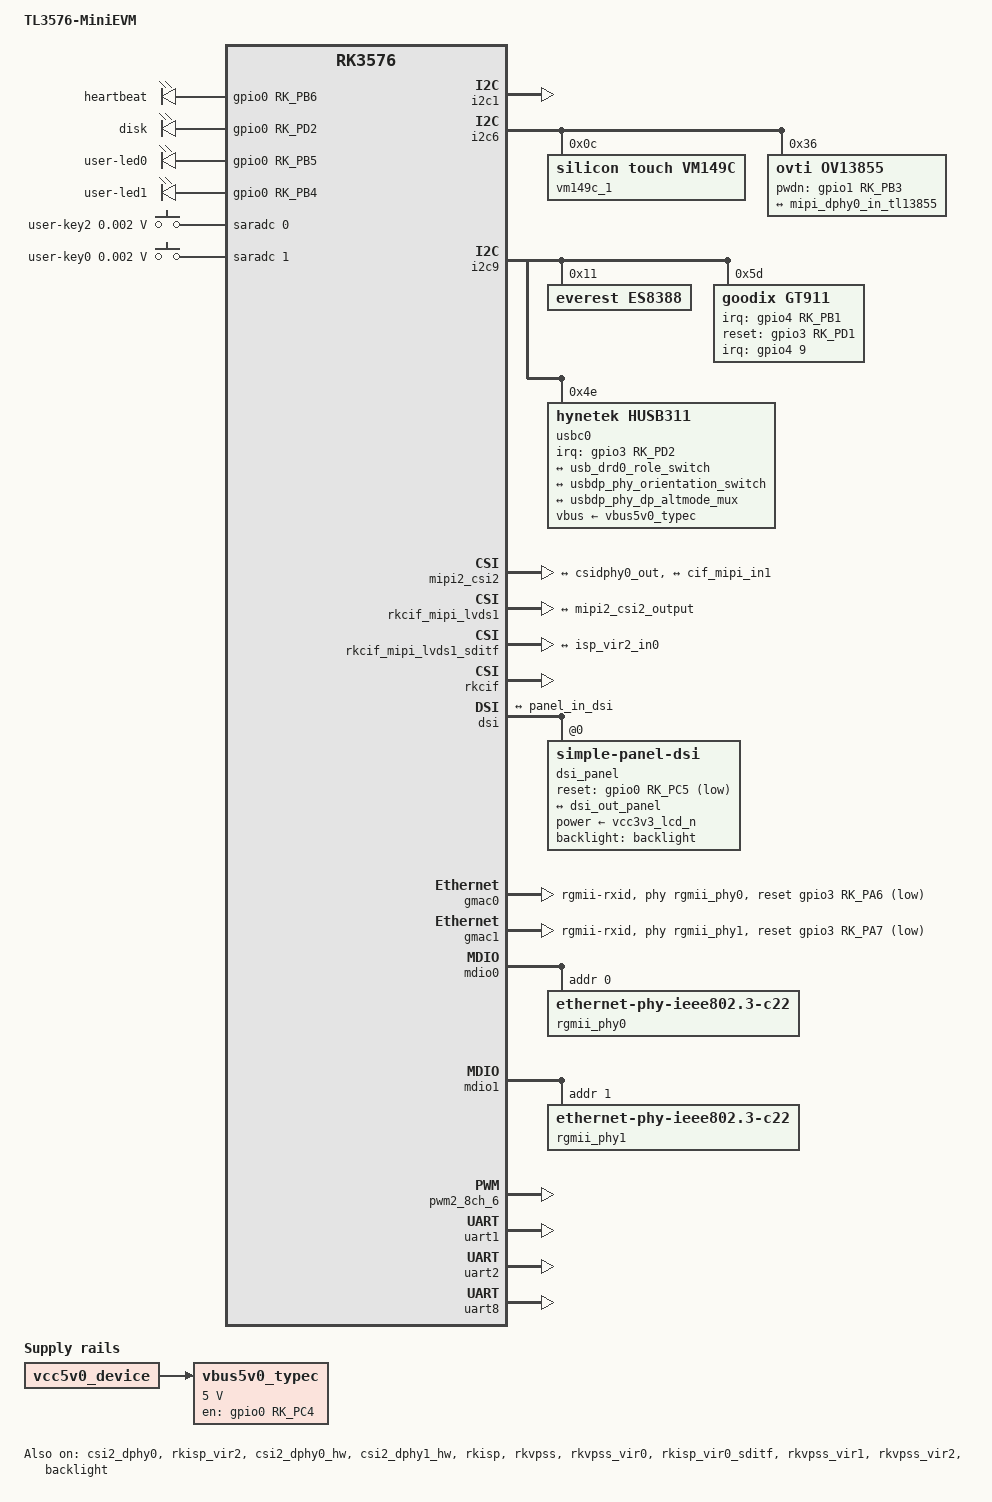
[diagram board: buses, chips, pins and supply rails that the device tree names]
// SPDX-License-Identifier: (GPL-2.0+ OR MIT)
/*
 * Copyright (c) 2024 Rockchip Electronics Co., Ltd.
 *
 */

/dts-v1/;

#include "rk3576.dtsi"
#include "rk3576-evb1.dtsi"
#include "rk3576-linux.dtsi"

/ {
	model = "TL3576-MiniEVM";
	compatible = "tronlong,tl3576-minievm", "rockchip,rk3576";

	vbus5v0_typec: vbus5v0-typec {
		compatible = "regulator-fixed";
		regulator-name = "vbus5v0_typec";
		regulator-min-microvolt = <5000000>;
		regulator-max-microvolt = <5000000>;
		enable-active-high;
		gpio = <&gpio0 RK_PC4 GPIO_ACTIVE_HIGH>;
		vin-supply = <&vcc5v0_device>;
	};

	wireless_bluetooth: wireless-bluetooth {
		compatible = "bluetooth-platdata";
		status = "disabled";
	};
	sdio_pwrseq: sdio-pwrseq {
		compatible = "mmc-pwrseq-simple";

		/*
		 * On the module itself this is one of these (depending
		 * on the actual card populated):
		 * - SDIO_RESET_L_WL_REG_ON
		 * - PDN (power down when low)
		 */
		post-power-on-delay-ms = <200>;
		status = "okay";
	};

	leds {
		status = "okay";
		compatible = "gpio-leds";
		pinctrl-names = "default";
		pinctrl-0 = <&som_led0 &som_led1 &user_led0 &user_led1>;

		som_led0 {
			label = "heartbeat";
			gpios = <&gpio0 RK_PB6 GPIO_ACTIVE_HIGH>;
			linux,default-trigger = "heartbeat";
			default-state = "off";
		};

		som_led1 {
			label = "disk";
			gpios = <&gpio0 RK_PD2 GPIO_ACTIVE_HIGH>;
			linux,default-trigger = "mmc0";
			default-state = "off";
		};

		user_led0 {
			label = "user-led0";
			gpios = <&gpio0 RK_PB5 GPIO_ACTIVE_HIGH>;
			linux,default-trigger = "default-on";
			default-state = "off";
		};

		user_led1 {
			label = "user-led1";
			gpios = <&gpio0 RK_PB4 GPIO_ACTIVE_HIGH>;
			linux,default-trigger = "default-on";
			default-state = "off";
		};
	};

	/delete-node/ adc-keys;

        adc-keys1 {
            compatible = "adc-keys";
            io-channels = <&saradc 0>;
            io-channel-names = "buttons";
            keyup-threshold-microvolt = <1800000>;
            poll-interval = <100>;

                user_key2 {
                    label = "user-key2";
                    linux,code = <KEY_PROG3>;
                    press-threshold-microvolt = <1750>;
                };
        };

        adc-keys2 {
            compatible = "adc-keys";
            io-channels = <&saradc 1>;
            io-channel-names = "buttons";
            keyup-threshold-microvolt = <1800000>;
            poll-interval = <100>;

                user_key0 {
                    label = "user-key0";
                    linux,code = <KEY_PROG1>;
                    press-threshold-microvolt = <1750>;
                };
        };

	export-gpio {
		status = "okay";
		pinctrl-names = "default";
		pinctrl-0 = <&gpio_pins_group1 &gpio_pins_group2>;
	};
};

&fiq_debugger {
	rockchip,baudrate = <115200>;
};

&cluster0_opp_table{
        /* RK3576 A53 core limit at 1.4GHz */
        /delete-node/ opp-1608000000;
        /delete-node/ opp-1800000000;
        /delete-node/ opp-2016000000;

        /* RK3576J A53 core limit at 1.4GHz */
        /delete-node/ opp-j-m-1608000000;
        /delete-node/ opp-j-m-1800000000;
        /delete-node/ opp-j-m-1920000000;
};

&cluster1_opp_table{
        /* RK3576 A72 core limit at 1.6GHz */
        /delete-node/ opp-1800000000;
        /delete-node/ opp-2016000000;
        /delete-node/ opp-2208000000;

        /* RK3576J A72 core limit at 1.6GHz */
        /delete-node/ opp-j-m-1800000000;
        /delete-node/ opp-j-m-2016000000;
        /delete-node/ opp-j-m-2112000000;
};

&gpu_opp_table {
	/* RK3576 GPU limit at 700MHz */
	/delete-node/ opp-s-800000000;
	/delete-node/ opp-800000000;
	/delete-node/ opp-900000000;

	/* RK3576J GPU limit at 700MHz */
	/delete-node/ opp-j-m-800000000;
};

&npu_opp_table {
	/* RK3576 NPU limit at 700MHz */
	/delete-node/ opp-800000000;
	/delete-node/ opp-900000000;
	/delete-node/ opp-950000000;

	/* RK3576J NPU limit at 700MHz */
	/delete-node/ opp-j-m-800000000;
	/delete-node/ opp-j-m-850000000;
};

&dmc {
	system-status-level = <
		/* system status        freq level */
		SYS_STATUS_NORMAL       DMC_FREQ_LEVEL_HIGH
	>;
	auto-freq-en = <0>;
	status = "disabled";
};

&i2c1 {
	status = "okay";
};

&i2c4 {
	status = "disabled";
};

&i2c6 {
	status = "okay";
	pinctrl-names = "default";
	pinctrl-0 = <&i2c6m0_xfer>;

	vm149c_1: vm149c@c {
                compatible = "silicon touch,vm149c";
                status = "okay";
                reg = <0x0c>;
                rockchip,camera-module-index = <0>;
                rockchip,camera-module-facing = "back";
        };

        ov13855: ov13855@36 {
                compatible = "ovti,ov13855";
                status = "okay";
                reg = <0x36>;
                clocks = <&cru CLK_MIPI_CAMERAOUT_M1>;
                clock-names = "xvclk";
		pwdn-gpios = <&gpio1 RK_PB3 GPIO_ACTIVE_HIGH>;
                power-domains = <&power RK3576_PD_VI>;
                rockchip,camera-module-index = <1>;
                rockchip,camera-module-facing = "back";
                rockchip,camera-module-name = "RK-CMK-8M-2-v1";
                rockchip,camera-module-lens-name = "CK8401";
                lens-focus = <&vm149c_1>;

                port {
                        camera1_out: endpoint {
				remote-endpoint = <&mipi_dphy0_in_tl13855>;
				data-lanes = <1 2 3 4>;
			};
                };
        };
};

&i2c9 {
	status = "okay";
	pinctrl-names = "default";
	pinctrl-0 = <&i2c9m3_xfer>;

	es8388: es8388@11 {
		status = "okay";
		#sound-dai-cells = <0>;
		compatible = "everest,es8388", "everest,es8323";
		reg = <0x11>;
		clocks = <&mclkout_sai1>;
		clock-names = "mclk";
		assigned-clocks = <&mclkout_sai1>;
		assigned-clock-rates = <12288000>;
		pinctrl-names = "default";
		pinctrl-0 = <&sai1m0_mclk>;
	};

	gt911@5d {
		compatible = "goodix,gt911";
		reg = <0x5d>;
		interrupt-parent = <&gpio4>;
		interrupts = <9 0>;
		irq-gpios = <&gpio4 RK_PB1 0>;
		reset-gpios = <&gpio3 RK_PD1 GPIO_ACTIVE_HIGH>;
		pinctrl-names = "default";
		pinctrl-0 = <&gt911_int>;
		status = "okay";
	};

	usbc0: husb311@4e {
		compatible = "hynetek,husb311";
		reg = <0x4e>;
		interrupt-parent = <&gpio3>;
		interrupts = <RK_PD2 IRQ_TYPE_LEVEL_LOW>;
		pinctrl-names = "default";
		pinctrl-0 = <&usbc0_int>;
		vbus-supply = <&vbus5v0_typec>;
		status = "okay";

		port {
			usbc0_role_sw: endpoint {
				remote-endpoint = <&usb_drd0_role_switch>;
			};
		};

		usb_con: connector {
			compatible = "usb-c-connector";
			label = "USB-C";
			data-role = "dual";
			power-role = "dual";
			try-power-role = "sink";
			op-sink-microwatt = <1000000>;
			sink-pdos =
				<PDO_FIXED(5000, 1000, PDO_FIXED_USB_COMM)>;
			source-pdos =
				<PDO_FIXED(5000, 3000, PDO_FIXED_USB_COMM)>;
			mode-switch = <&dp>;

			altmodes {
				#address-cells = <1>;
				#size-cells = <0>;

				altmode@0 {
					reg = <0>;
					svid = <0xff01>;
					vdo = <0xffffffff>;
				};
			};

			ports {
				#address-cells = <1>;
				#size-cells = <0>;

				port@0 {
					reg = <0>;
					usbc0_orien_sw: endpoint {
						remote-endpoint = <&usbdp_phy_orientation_switch>;
					};
				};

				port@1 {
					reg = <1>;
					dp_altmode_mux: endpoint {
						remote-endpoint = <&usbdp_phy_dp_altmode_mux>;
					};
				};
			};
		};
	};
};

&csi2_dphy0 {
	status = "okay";

	ports {
                #address-cells = <1>;
                #size-cells = <0>;
                port@0 {
                        reg = <0>;
			#address-cells = <1>;
                        #size-cells = <0>;

                        mipi_dphy0_in_tl13855: endpoint@1 {
                                reg = <1>;
                                remote-endpoint = <&camera1_out>;
                                data-lanes = <1 2 3 4>;
                        };
                };
                port@1 {
                        reg = <1>;
                        #address-cells = <1>;
                        #size-cells = <0>;

                        csidphy0_out: endpoint@0 {
                                reg = <0>;
                                remote-endpoint = <&mipi2_csi2_input>;
                        };
                };
        };
};

&mipi2_csi2 {
        status = "okay";

        ports {
                #address-cells = <1>;
                #size-cells = <0>;

                port@0 {
                        reg = <0>;
                        #address-cells = <1>;
                        #size-cells = <0>;

                        mipi2_csi2_input: endpoint@1 {
                                reg = <1>;
                                remote-endpoint = <&csidphy0_out>;
                        };
                };

                port@1 {
                        reg = <1>;
                        #address-cells = <1>;
                        #size-cells = <0>;

                        mipi2_csi2_output: endpoint@0 {
                                reg = <0>;
                                remote-endpoint = <&cif_mipi_in1>;
                        };
                };
        };
};

&rkcif_mipi_lvds1 {
        status = "okay";

        port {
                cif_mipi_in1: endpoint {
                        remote-endpoint = <&mipi2_csi2_output>;
                };
        };
};

&rkcif_mipi_lvds1_sditf {
	status = "okay";

	port {
                mipi_lvds1_sditf: endpoint {
                        remote-endpoint = <&isp_vir2_in0>;
                };
        };
};

&rkisp_vir2 {
        status = "okay";

        port {
                #address-cells = <1>;
                #size-cells = <0>;

                isp_vir2_in0: endpoint@0 {
                        reg = <0>;
                        remote-endpoint = <&mipi_lvds1_sditf>;
                };
        };
};

&rkcif {
        status = "okay";
};

&csi2_dphy0_hw {
        status = "okay";
};

&csi2_dphy1_hw {
        status = "okay";
};

&rkcif_mmu {
        status = "okay";
};

&rkisp {
        status = "okay";
};

&rkisp_mmu {
        status = "okay";
};

&rkvpss {
        status = "okay";
};

&rkvpss_mmu {
        status = "okay";
};

&rkvpss_vir0 {
        status = "okay";
};

&rkisp_vir0_sditf {
	status = "okay";
};

&rkvpss_vir1 {
        status = "okay";
};

&rkvpss_vir2 {
        status = "okay";
};

&dsi {
	status = "okay";

	dsi_panel: panel@0 {
		status = "okay";
		compatible = "simple-panel-dsi";
		reg = <0>;
		backlight = <&backlight>;
		reset-gpios = <&gpio0 RK_PC5 GPIO_ACTIVE_LOW>;
		reset-delay-ms = <200>;
		enable-delay-ms = <200>;
		prepare-delay-ms = <200>;
		unprepare-delay-ms = <200>;
		disable-delay-ms = <200>;
		width-mm = <94>;
		height-mm = <150>;
		dsi,flags = <(MIPI_DSI_MODE_VIDEO | MIPI_DSI_MODE_VIDEO_BURST |
			      MIPI_DSI_MODE_LPM | MIPI_DSI_MODE_NO_EOT_PACKET)>;
		dsi,format = <MIPI_DSI_FMT_RGB888>;
		dsi,lanes  = <4>;
		panel-init-sequence = [
			05 1E 01 01
			23 00 02 EE 50
			29 00 03 EA 85 55
			23 00 02 30 00
			23 00 02 31 00
			29 00 03 90 50 15
			23 00 02 24 20
			23 00 02 99 00
			23 00 02 79 00
			23 00 02 95 74
			23 00 02 7A 20
			23 00 02 97 09
			23 00 02 7D 08
			23 00 02 56 83
			23 00 02 EE 60
			23 00 02 30 01
			23 00 02 27 22
			23 00 02 3A A4
			23 00 02 3B 00
			23 00 02 3C 1A
			23 00 02 3D 11
			23 00 02 3E 93
			23 00 02 42 64
			23 00 02 43 64
			23 00 02 44 0B
			23 00 02 46 4E
			23 00 02 8B 90
			23 00 02 8D 45
			23 00 02 91 11
			23 00 02 92 11
			23 00 02 93 9F
			23 00 02 9A 00
			23 00 02 9C 80
			29 00 06 47 0F 24 2C 39 36
			29 00 06 5A 0F 24 2C 39 36
			29 00 06 4C 4A 40 51 31 2F
			29 00 06 51 2D 10 25 1F 30
			29 00 05 56 37 46 5B 7F
			29 00 05 69 37 46 5B 7F
			23 00 02 EE 70
			29 00 05 00 03 07 00 01
			29 00 05 04 08 0C 55 01
			29 00 03 0C 05 3D
			29 00 06 10 05 08 00 01 05
			29 00 06 15 00 15 0D 08 00
			29 00 03 29 05 3D
			29 00 06 60 3C 3C 07 05 17
			29 00 06 65 15 13 11 01 03
			29 00 06 6A 3C 3C 3C 3C 3C
			29 00 06 6F 3C 3C 3C 3C 3C
			29 00 03 74 3C 3C
			29 00 06 80 3C 3C 06 04 16
			29 00 06 85 14 12 10 00 02
			29 00 06 8A 3C 3C 3C 3C 3C
			29 00 06 8F 3C 3C 3C 3C 3C
			29 00 03 94 3C 3C
			29 00 03 EA 00 00
			23 00 02 EE 00
			05 78 01 11
			05 1E 01 29
		];

		panel-exit-sequence = [
			05 00 01 28
			05 00 01 10
		];

		disp_timings0: display-timings {
			native-mode = <&dsi_timing0>;
			dsi_timing0: timing0 {
				clock-frequency = <67200000>;
                hactive = <800>;
                vactive = <1280>;
                hfront-porch = <80>;
                hsync-len = <20>;
                hback-porch = <20>;
                vfront-porch = <15>;
                vsync-len = <6>;
                vback-porch = <8>;
                hsync-active = <0>;
                vsync-active = <0>;
                de-active = <0>;
                pixelclk-active = <1>;
			};
		};

		ports {
			#address-cells = <1>;
			#size-cells = <0>;

			port@0 {
				reg = <0>;
				panel_in_dsi: endpoint {
					remote-endpoint = <&dsi_out_panel>;
				};
			};
		};
	};

	ports {
		#address-cells = <1>;
		#size-cells = <0>;

		port@1 {
			reg = <1>;
			dsi_out_panel: endpoint {
				remote-endpoint = <&panel_in_dsi>;
			};
		};
	};

};

&dsi_panel {
	power-supply = <&vcc3v3_lcd_n>;
};

&gmac0 {
	/* Use rgmii-rxid mode to disable rx delay inside Soc */
	phy-mode = "rgmii-rxid";
	clock_in_out = "output";

	snps,reset-gpio = <&gpio3 RK_PA6 GPIO_ACTIVE_LOW>;
	snps,reset-active-low;
	/* Reset time is 20ms, 100ms for rtl8211f */
	snps,reset-delays-us = <0 20000 100000>;

	pinctrl-names = "default";
	pinctrl-0 = <&eth0m1_miim
		     &eth0m1_tx_bus2
		     &eth0m1_rx_bus2
		     &eth0m1_rgmii_clk
		     &eth0m1_rgmii_bus>;

	tx_delay = <0x21>;
	/* rx_delay = <0x3f>; */

	phy-handle = <&rgmii_phy0>;
	status = "okay";
};

&gmac1 {
	/* Use rgmii-rxid mode to disable rx delay inside Soc */
	phy-mode = "rgmii-rxid";
	clock_in_out = "output";

	snps,reset-gpio = <&gpio3 RK_PA7 GPIO_ACTIVE_LOW>;
	snps,reset-active-low;
	/* Reset time is 20ms, 100ms for rtl8211f */
	snps,reset-delays-us = <0 20000 100000>;

	pinctrl-names = "default";
	pinctrl-0 = <&eth1m0_miim
		     &eth1m0_tx_bus2
		     &eth1m0_rx_bus2
		     &eth1m0_rgmii_clk
		     &eth1m0_rgmii_bus>;

	tx_delay = <0x20>;
	/* rx_delay = <0x3f>; */

	phy-handle = <&rgmii_phy1>;
	status = "okay";
};

&mdio0 {
	rgmii_phy0: phy@1 {
		compatible = "ethernet-phy-ieee802.3-c22";
		reg = <0x0>;
		clocks = <&cru REFCLKO25M_GMAC0_OUT>;
	};
};

&mdio1 {
	rgmii_phy1: phy@1 {
		compatible = "ethernet-phy-ieee802.3-c22";
		reg = <0x1>;
		clocks = <&cru REFCLKO25M_GMAC1_OUT>;
	};
};

&pwm2_8ch_6 {
	status = "okay";
	pinctrl-0 = <&pwm2m2_ch6>;
};

&backlight {
        pwms = <&pwm2_8ch_6 0 25000 0>;
        status = "okay";
};

&usbdp_phy {
	orientation-switch;
	svid = <0xff01>;
	sbu1-dc-gpios = <&gpio4 RK_PC4 GPIO_ACTIVE_HIGH>;
	sbu2-dc-gpios = <&gpio4 RK_PC5 GPIO_ACTIVE_HIGH>;

	port {
		#address-cells = <1>;
		#size-cells = <0>;

		usbdp_phy_orientation_switch: endpoint@0 {
			reg = <0>;
			remote-endpoint = <&usbc0_orien_sw>;
		};

		usbdp_phy_dp_altmode_mux: endpoint@1 {
			reg = <1>;
			remote-endpoint = <&dp_altmode_mux>;
		};
	};
};

&es8388_sound {
        /delete-property/ spk-con-gpio;
	/delete-property/ io-channels;
	/delete-property/ io-channel-name;
        hp-det-gpio = <&gpio4 RK_PB2 GPIO_ACTIVE_HIGH>;
        hp-con-gpio = <&gpio0 RK_PC3 GPIO_ACTIVE_HIGH>;
};

&pinctrl {
	leds {
		som_led0: som-led0 {
			rockchip,pins = <0 RK_PB6 RK_FUNC_GPIO &pcfg_pull_none>;
		};

		som_led1: som-led1 {
			rockchip,pins = <0 RK_PD2 RK_FUNC_GPIO &pcfg_pull_none>;
		};

		user_led0: user-led0 {
			rockchip,pins = <0 RK_PB5 RK_FUNC_GPIO &pcfg_pull_none>;
		};

		user_led1: user-led1 {
			rockchip,pins = <0 RK_PB4 RK_FUNC_GPIO &pcfg_pull_none>;
		};
	};

	usb {
		usbc0_int: usbc0-int {
			rockchip,pins = <3 RK_PD2 RK_FUNC_GPIO &pcfg_pull_up>;
		};
	};

	touch {
		gt911_int: gt911-int {
			rockchip,pins = <4 RK_PB1 RK_FUNC_GPIO &pcfg_pull_none>;
		};
	};

	headphone {
		hp_det: hp-det {
			rockchip,pins = <4 RK_PB2 RK_FUNC_GPIO &pcfg_pull_none>;
		};
	};

	export1 {
		gpio_pins_group1: gpio-pins-group1 {
			rockchip,pins =
			<1 RK_PC4 RK_FUNC_GPIO &pcfg_pull_none>,
			<1 RK_PC5 RK_FUNC_GPIO &pcfg_pull_none>,
			<1 RK_PC6 RK_FUNC_GPIO &pcfg_pull_none>,
			<1 RK_PC7 RK_FUNC_GPIO &pcfg_pull_none>,
			<1 RK_PC3 RK_FUNC_GPIO &pcfg_pull_none>,
			<1 RK_PD5 RK_FUNC_GPIO &pcfg_pull_none>,
			<4 RK_PA0 RK_FUNC_GPIO &pcfg_pull_none>,
			<3 RK_PD6 RK_FUNC_GPIO &pcfg_pull_none>,
			<3 RK_PD5 RK_FUNC_GPIO &pcfg_pull_none>,
			<3 RK_PD4 RK_FUNC_GPIO &pcfg_pull_none>,
			<3 RK_PD0 RK_FUNC_GPIO &pcfg_pull_none>,
			<3 RK_PC7 RK_FUNC_GPIO &pcfg_pull_none>,
			<3 RK_PC6 RK_FUNC_GPIO &pcfg_pull_none>,
			<3 RK_PB5 RK_FUNC_GPIO &pcfg_pull_none>,
			<3 RK_PB4 RK_FUNC_GPIO &pcfg_pull_none>,
			<3 RK_PB3 RK_FUNC_GPIO &pcfg_pull_none>,
			<3 RK_PB2 RK_FUNC_GPIO &pcfg_pull_none>,
			<0 RK_PA0 RK_FUNC_GPIO &pcfg_pull_none>,
			<2 RK_PD7 RK_FUNC_GPIO &pcfg_pull_none>,
			<3 RK_PA5 RK_FUNC_GPIO &pcfg_pull_none>,
			<3 RK_PD7 RK_FUNC_GPIO &pcfg_pull_none>,
			<3 RK_PB7 RK_FUNC_GPIO &pcfg_pull_none>,
			<3 RK_PA4 RK_FUNC_GPIO &pcfg_pull_none>,
			<3 RK_PC5 RK_FUNC_GPIO &pcfg_pull_none>,
			<3 RK_PC4 RK_FUNC_GPIO &pcfg_pull_none>,
			<3 RK_PC1 RK_FUNC_GPIO &pcfg_pull_none>,
			<3 RK_PC0 RK_FUNC_GPIO &pcfg_pull_none>,
			<3 RK_PD3 RK_FUNC_GPIO &pcfg_pull_none>,
			<1 RK_PC1 RK_FUNC_GPIO &pcfg_pull_none>,
			<1 RK_PC0 RK_FUNC_GPIO &pcfg_pull_none>,
			<1 RK_PB7 RK_FUNC_GPIO &pcfg_pull_none>,
			<1 RK_PB6 RK_FUNC_GPIO &pcfg_pull_none>,
			<1 RK_PB5 RK_FUNC_GPIO &pcfg_pull_none>,
			<0 RK_PD5 RK_FUNC_GPIO &pcfg_pull_none>;
		};
	};

	export2 {
		gpio_pins_group2: gpio-pins-group2 {
			rockchip,pins =
			<4 RK_PA4 RK_FUNC_GPIO &pcfg_pull_none>,
			<4 RK_PA6 RK_FUNC_GPIO &pcfg_pull_none>,
			<4 RK_PC6 RK_FUNC_GPIO &pcfg_pull_none>,
			<4 RK_PC7 RK_FUNC_GPIO &pcfg_pull_none>,
			<0 RK_PD3 RK_FUNC_GPIO &pcfg_pull_none>,
			<4 RK_PB0 RK_FUNC_GPIO &pcfg_pull_none>,
			<3 RK_PB1 RK_FUNC_GPIO &pcfg_pull_none>,
			<3 RK_PB0 RK_FUNC_GPIO &pcfg_pull_none>,
			<0 RK_PB1 RK_FUNC_GPIO &pcfg_pull_none>,
			<0 RK_PB0 RK_FUNC_GPIO &pcfg_pull_none>,
			<1 RK_PD4 RK_FUNC_GPIO &pcfg_pull_none>,
			<1 RK_PD2 RK_FUNC_GPIO &pcfg_pull_none>,
			<1 RK_PD0 RK_FUNC_GPIO &pcfg_pull_none>,
			<1 RK_PD1 RK_FUNC_GPIO &pcfg_pull_none>,
			<1 RK_PD3 RK_FUNC_GPIO &pcfg_pull_none>,
			<0 RK_PD0 RK_FUNC_GPIO &pcfg_pull_none>,
			<0 RK_PD1 RK_FUNC_GPIO &pcfg_pull_none>,
			<0 RK_PC7 RK_FUNC_GPIO &pcfg_pull_none>,
			<0 RK_PC6 RK_FUNC_GPIO &pcfg_pull_none>,
			<3 RK_PB6 RK_FUNC_GPIO &pcfg_pull_none>;
		};
	};
};

&vcc3v3_lcd_n {
	/delete-property/ gpio;
};

&vcc5v0_host {
	/delete-property/ gpio;
	/delete-property/ pinctrl-names;
	/delete-property/ pinctrl-0;
};

&vcc_mipicsi1 {
	/delete-property/ gpio;
	/delete-property/ pinctrl-names;
	/delete-property/ pinctrl-0;
};

&vcc_mipidcphy0 {
	/delete-property/ gpio;
	/delete-property/ pinctrl-names;
	/delete-property/ pinctrl-0;
};

&pcie0 {
	/delete-property/ reset-gpios;
	/delete-property/ pinctrl-names;
	/delete-property/ pinctrl-0;
	status = "disabled";
};

&hdmi {
	enable-gpios = <&gpio4 RK_PA1 GPIO_ACTIVE_HIGH>;
};

&uart1 {
	status = "okay";
	pinctrl-names = "default";
	pinctrl-0 = <&uart1m0_xfer>;
};

&uart2 {
	status = "okay";
	pinctrl-names = "default";
	pinctrl-0 = <&uart2m1_xfer>;
};

&uart8 {
	status = "okay";
	pinctrl-names = "default";
	pinctrl-0 = <&uart8m2_xfer>;
};

&uart4 {
	status = "disabled";
};

&ufs {
	status = "disabled";
};
